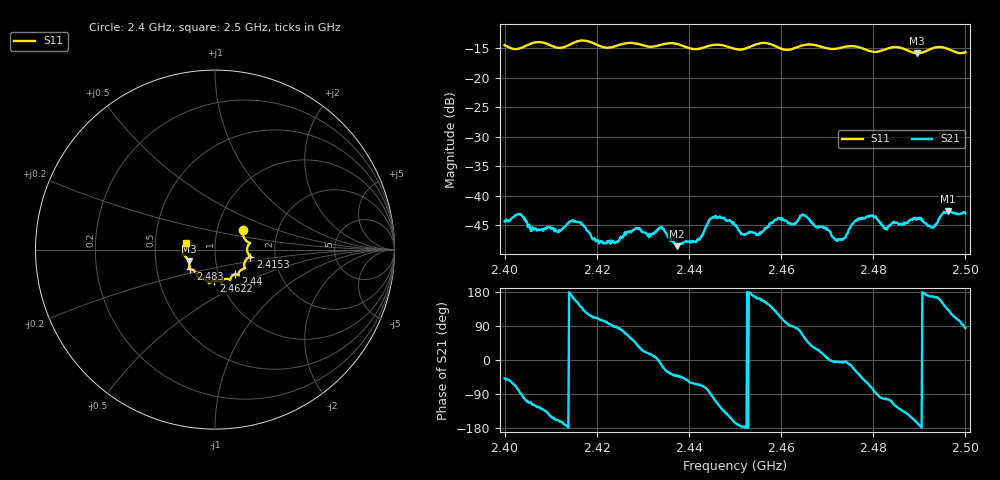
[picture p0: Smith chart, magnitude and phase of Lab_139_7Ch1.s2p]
# Hz S RI R 50
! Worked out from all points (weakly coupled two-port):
!   601 points, 2.4 GHz to 2.5 GHz, reference 50 ohm
!   highest |S21| = -42.64 dB at 2.4962 GHz (marker M1); lowest = -48.6 dB at 2.4373 GHz (marker M2)
!   lowest |S11| = -15.9 dB at 2.4895 GHz (marker M3), VSWR 1.38, Z = 36.9 - j5 ohm
!   |S11| at or under -10 dB: start of sweep to end of sweep
!   S12 and S22 are empty: the file has one direction only
!   S11 on the Smith chart (normalised r, x): 2.4 GHz: 1.33, +0.29; 2.4153 GHz: 1.48, -0.12; 2.44 GHz: 1.20, -0.34; 2.4622 GHz: 0.93, -0.33; 2.483 GHz: 0.74, -0.17; 2.5 GHz: 0.72, +0.06
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2.4e9  0.1553 0.1068  0.00401 -0.00453  0 0  0 0
2.403167e9  0.1669 0.0575  0.000994 -0.0069  0 0  0 0
2.411667e9  0.1791 0.00413  -0.00458 -0.00172  0 0  0 0
2.415333e9  0.1964 -0.0388  -0.0056 0.00229  0 0  0 0
2.416667e9  0.202 -0.0429  -0.00431 0.00373  0 0  0 0
2.421667e9  0.1697 -0.0607  -0.000882 0.00387  0 0  0 0
2.433333e9  0.1311 -0.1334  0.00522 -0.00015  0 0  0 0
2.437333e9  0.1312 -0.1425  0.00277 -0.00249  0 0  0 0
2.44e9  0.114 -0.1367  0.00219 -0.00343  0 0  0 0
2.445333e9  0.0847 -0.1695  -0.00123 -0.00643  0 0  0 0
2.45e9  0.0646 -0.163  -0.00539 -0.00139  0 0  0 0
2.455e9  0.0361 -0.1903  -0.00441 0.0014  0 0  0 0
2.462167e9  -0.00711 -0.174  5.53e-05 0.00569  0 0  0 0
2.466667e9  -0.0343 -0.1878  0.00469 0.00346  0 0  0 0
2.472167e9  -0.0717 -0.1612  0.0041 -0.000334  0 0  0 0
2.479e9  -0.1035 -0.1338  0.00292 -0.00607  0 0  0 0
2.483e9  -0.1376 -0.1094  -0.00126 -0.005  0 0  0 0
2.483333e9  -0.1401 -0.1092  -0.00139 -0.00535  0 0  0 0
2.4895e9  -0.1466 -0.0659  -0.00622 -0.00163  0 0  0 0
2.493e9  -0.1761 -0.0273  -0.0052 0.00122  0 0  0 0
2.496167e9  -0.1748 -0.0138  -0.00511 0.00532  0 0  0 0
2.5e9  -0.1595 0.0392  0.000686 0.00699  0 0  0 0
